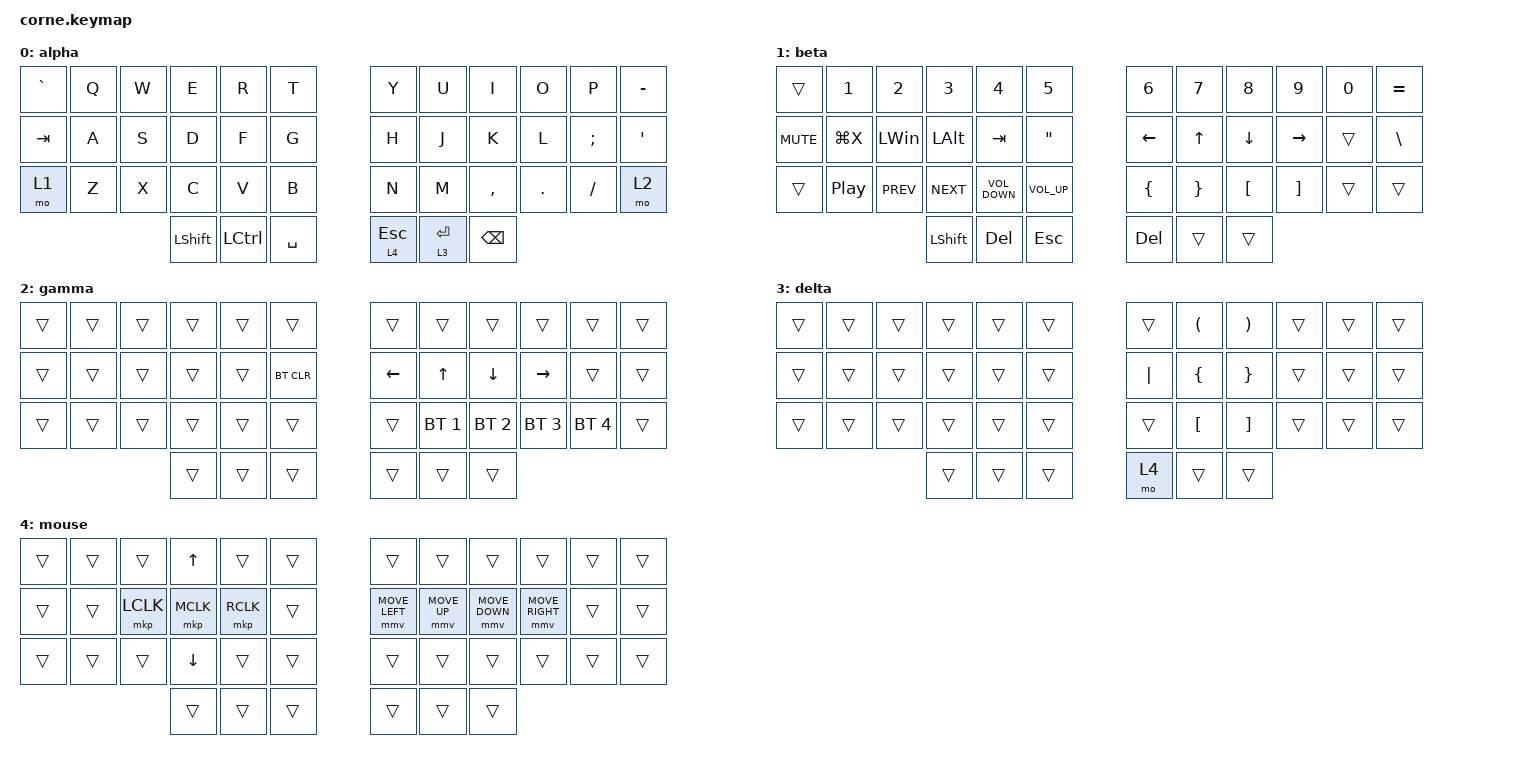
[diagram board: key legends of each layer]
#include <behaviors.dtsi>
#include <dt-bindings/zmk/bt.h>
#include <dt-bindings/zmk/keys.h>
#include <dt-bindings/zmk/mouse.h>

#define ZMK_MOUSE_DEFAULT_MOVE_VAL 1500  // 600
#define ZMK_MOUSE_DEFAULT_SCRL_VAL 5

// #undef MOVE_UP
// #undef MOVE_DOWN
// #undef MOVE_LEFT
// #undef MOVE_RIGHT
// #define MOVE_UP MOVE_Y(-U_MOUSE_MOVE_MAX)
// #define MOVE_DOWN MOVE_Y(U_MOUSE_MOVE_MAX)
// #define MOVE_LEFT MOVE_X(-U_MOUSE_MOVE_MAX)
// #define MOVE_RIGHT MOVE_X(U_MOUSE_MOVE_MAX)

&msc {
    acceleration-exponent = <1>;
    time-to-max-speed-ms = <40>;                 /* <--- How long time until max speed is reached */
    delay-ms = <0>;
};

&mmv {
    acceleration-exponent = <1>;
    delay-ms = <0>;
    time-to-max-speed-ms = <500>;             /* <--- How long time until max speed is reached (default: 500) */
};

&mt {
    quick-tap-ms = <65>;
    flavor = "tap-preferred";
    tapping-term-ms = <90>;
};

/ {
    behaviors {
        mouse_mode: mouse_mode {
            compatible = "zmk,behavior-hold-tap";
            label = "MOUSE_MODE";
            bindings = <&mo>, <&kp>;

            #binding-cells = <2>;
            tapping-term-ms = <125>;
            flavor = "tap-preferred";
            quick-tap-ms = <75>;
        };
    };

    keymap {
        compatible = "zmk,keymap";

        alpha {
            bindings = <
&kp GRAVE  &kp Q  &kp W  &kp E       &kp R      &kp T        &kp Y                 &kp U                &kp I          &kp O    &kp P     &kp MINUS
&kp TAB    &kp A  &kp S  &kp D       &kp F      &kp G        &kp H                 &kp J                &kp K          &kp L    &kp SEMI  &kp SQT
&mo 1      &kp Z  &kp X  &kp C       &kp V      &kp B        &kp N                 &kp M                &kp COMMA      &kp DOT  &kp FSLH  &mo 2
                         &kp LSHIFT  &kp LCTRL  &kp SPACE    &mouse_mode 4 ESCAPE  &mouse_mode 3 ENTER  &kp BACKSPACE
            >;
        };

        beta {
            bindings = <
&trans      &kp N1     &kp N2        &kp N3        &kp N4             &kp N5               &kp N6          &kp N7           &kp N8    &kp N9     &kp N0  &kp EQUAL
&kp C_MUTE  &kp LG(X)  &kp LEFT_WIN  &kp LEFT_ALT  &kp TAB            &kp DOUBLE_QUOTES    &kp LEFT        &kp UP           &kp DOWN  &kp RIGHT  &trans  &kp BSLH
&trans      &kp C_PP   &kp C_PREV    &kp C_NEXT    &kp C_VOLUME_DOWN  &kp C_VOL_UP         &kp LEFT_BRACE  &kp RIGHT_BRACE  &kp LBKT  &kp RBKT   &trans  &trans
                                     &kp LSHIFT    &kp DEL            &kp ESC              &kp DEL         &trans           &trans
            >;
        };

        gamma {
            bindings = <
&trans  &trans  &trans  &trans  &trans  &trans        &trans    &trans        &trans        &trans        &trans        &trans
&trans  &trans  &trans  &trans  &trans  &bt BT_CLR    &kp LEFT  &kp UP        &kp DOWN      &kp RIGHT     &trans        &trans
&trans  &trans  &trans  &trans  &trans  &trans        &trans    &bt BT_SEL 1  &bt BT_SEL 2  &bt BT_SEL 3  &bt BT_SEL 4  &trans
                        &trans  &trans  &trans        &trans    &trans        &trans
            >;
        };

        delta {
            bindings = <
&trans  &trans  &trans  &trans  &trans  &trans    &trans    &kp LEFT_PARENTHESIS  &kp RIGHT_PARENTHESIS  &trans  &trans  &trans
&trans  &trans  &trans  &trans  &trans  &trans    &kp PIPE  &kp LEFT_BRACE        &kp RIGHT_BRACE        &trans  &trans  &trans
&trans  &trans  &trans  &trans  &trans  &trans    &trans    &kp LEFT_BRACKET      &kp RIGHT_BRACKET      &trans  &trans  &trans
                        &trans  &trans  &trans    &mo 4     &trans                &trans
            >;
        };

        mouse {
            bindings = <
&trans  &trans  &trans     &kp UP_ARROW  &trans     &trans    &trans          &trans        &trans          &trans           &trans  &trans
&trans  &trans  &mkp LCLK  &mkp MCLK     &mkp RCLK  &trans    &mmv MOVE_LEFT  &mmv MOVE_UP  &mmv MOVE_DOWN  &mmv MOVE_RIGHT  &trans  &trans
&trans  &trans  &trans     &kp DOWN      &trans     &trans    &trans          &trans        &trans          &trans           &trans  &trans
                           &trans        &trans     &trans    &trans          &trans        &trans
            >;
        };
    };
};
